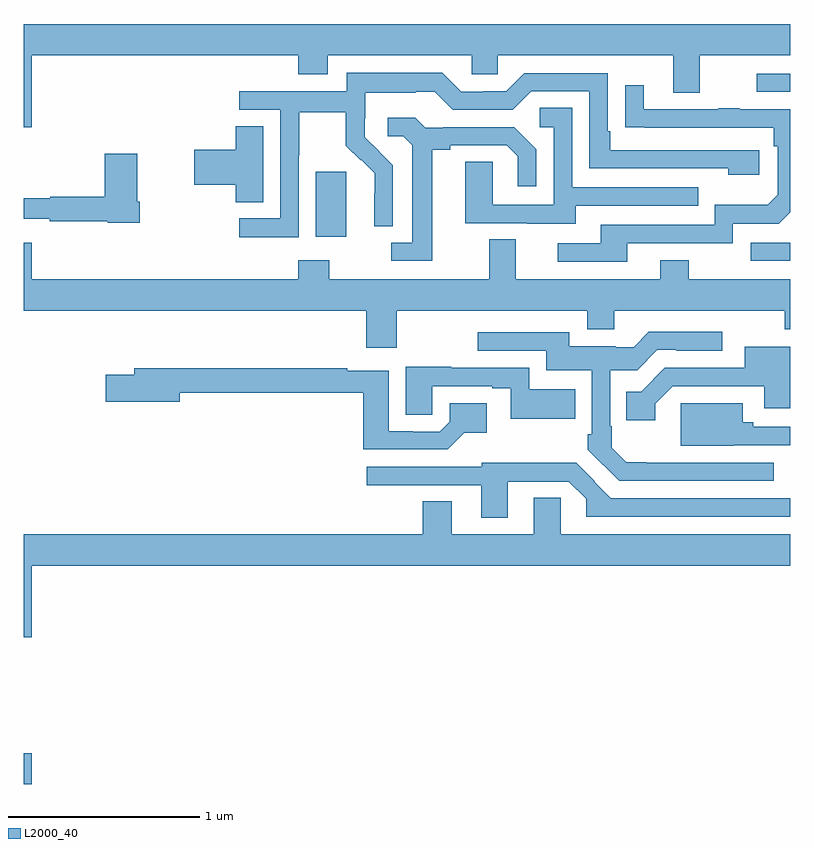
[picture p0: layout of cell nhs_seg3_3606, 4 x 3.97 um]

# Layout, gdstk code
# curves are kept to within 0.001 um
import gdstk
lib = gdstk.Library(unit=1e-6, precision=1e-09)
def R(c, l, rs):  # rectangles x0, y0, x1, y1
    for r in rs: c.add(gdstk.rectangle(r[:2], r[2:], *l))
def P(c, l, *ps):  # polygons
    for p in ps: c.add(gdstk.Polygon(p, *l))
L2000_40 = (2000, 40)

nhs_seg3_3606 = lib.new_cell('nhs_seg3_3606')
R(nhs_seg3_3606, L2000_40, [(297,742.4,297.04,742.561), (300.795,745.131,301,745.227), (298.523,745.257,298.684,745.597), (300.825,746.013,301,746.109)])
P(nhs_seg3_3606, L2000_40, [(297.04,746.204),(298.433,746.204),(298.433,746.105),(298.585,746.105),(298.585,746.204),(299.337,746.204),(299.337,746.106),(299.475,746.106),(299.475,746.204),(300.389,746.204),(300.389,746.01),(300.529,746.01),(300.529,746.204),(301,746.204),(301,746.368),(297,746.368),(297,745.83),(297.04,745.83)],
  [(298.434,745.684),(298.437,745.684),(298.437,745.908),(298.681,745.908),(298.681,745.733),(298.758,745.656),(298.761,745.659),(298.832,745.589),(298.832,745.484),(298.829,745.484),(298.829,745.312),(298.926,745.312),(298.926,745.63),(298.78,745.778),(298.78,745.875),(298.782,745.875),(298.782,746.009),(299.045,746.009),(299.045,746.013),(299.145,746.013),(299.238,745.92),(299.553,745.92),(299.649,746.016),(299.952,746.016),(299.952,745.614),(300.677,745.614),(300.677,745.58),(300.838,745.58),(300.838,745.71),(300.061,745.71),(300.061,745.807),(300.048,745.807),(300.048,746.112),(299.613,746.112),(299.517,746.016),(299.399,746.016),(299.399,746.013),(299.283,746.013),(299.183,746.113),(298.686,746.113),(298.686,746.016),(298.125,746.016),(298.125,745.92),(298.338,745.92),(298.338,745.353),(298.125,745.353),(298.125,745.255),(298.434,745.255)],
  [(300.151,745.224),(300.702,745.224),(300.702,745.326),(300.942,745.326),(301,745.384),(301,745.923),(300.737,745.923),(300.737,745.928),(300.625,745.928),(300.625,745.923),(300.235,745.923),(300.235,746.047),(300.139,746.047),(300.139,745.828),(300.916,745.827),(300.916,745.73),(300.936,745.73),(300.936,745.476),(300.883,745.423),(300.606,745.423),(300.606,745.32),(300.011,745.32),(300.011,745.224),(299.787,745.224),(299.787,745.128),(300.151,745.128)],
  [(299.881,745.419),(300.521,745.419),(300.521,745.515),(299.862,745.515),(299.862,745.931),(299.694,745.931),(299.694,745.83),(299.766,745.83),(299.766,745.425),(299.448,745.425),(299.448,745.649),(299.303,745.649),(299.303,745.329),(299.627,745.329),(299.627,745.325),(299.881,745.325)],
  [(299.131,745.712),(299.227,745.712),(299.227,745.734),(299.522,745.734),(299.579,745.677),(299.579,745.521),(299.676,745.521),(299.676,745.714),(299.56,745.83),(299.188,745.83),(299.188,745.827),(299.094,745.827),(299.042,745.879),(298.899,745.879),(298.899,745.782),(298.98,745.782),(299.027,745.735),(299.027,745.227),(298.917,745.227),(298.917,745.131),(299.131,745.131)],
  [(298.249,745.835),(298.106,745.835),(298.106,745.712),(297.888,745.712),(297.888,745.529),(298.106,745.529),(298.106,745.438),(298.249,745.438)],
  [(297.605,745.441),(297.592,745.441),(297.592,745.69),(297.422,745.69),(297.422,745.466),(297.138,745.466),(297.138,745.459),(297,745.459),(297,745.35),(297.136,745.35),(297.136,745.338),(297.438,745.338),(297.438,745.33),(297.605,745.33)],
  [(298.947,744.872),(299.942,744.872),(299.942,744.773),(300.082,744.773),(300.082,744.872),(300.973,744.872),(300.973,744.773),(301,744.773),(301,745.036),(300.471,745.036),(300.471,745.135),(300.323,745.135),(300.323,745.036),(299.569,745.036),(299.569,745.244),(299.429,745.244),(299.429,745.036),(298.593,745.036),(298.593,745.135),(298.433,745.135),(298.433,745.036),(297.04,745.036),(297.04,745.225),(297,745.225),(297,744.872),(298.787,744.872),(298.787,744.678),(298.947,744.678)],
  [(300.916,744.078),(300.25,744.078),(300.25,744.081),(300.146,744.081),(300.07,744.156),(300.07,744.268),(300.06,744.268),(300.06,744.561),(300.201,744.561),(300.306,744.666),(300.406,744.666),(300.406,744.663),(300.646,744.663),(300.646,744.76),(300.262,744.76),(300.183,744.681),(300.089,744.681),(300.089,744.685),(299.848,744.685),(299.848,744.759),(299.37,744.759),(299.37,744.663),(299.726,744.663),(299.726,744.56),(299.964,744.56),(299.964,744.226),(299.944,744.226),(299.944,744.145),(300.107,743.982),(300.916,743.982)],
  [(300.295,744.385),(300.387,744.477),(300.866,744.477),(300.866,744.362),(301,744.362),(301,744.682),(300.764,744.682),(300.764,744.573),(300.347,744.573),(300.222,744.448),(300.145,744.448),(300.145,744.3),(300.295,744.3)],
  [(299.879,744.46),(299.637,744.46),(299.637,744.573),(299.23,744.573),(299.23,744.578),(298.994,744.578),(298.994,744.328),(299.133,744.328),(299.133,744.477),(299.444,744.477),(299.444,744.465),(299.541,744.465),(299.541,744.308),(299.879,744.308)],
  [(299.298,744.233),(299.416,744.233),(299.416,744.388),(299.223,744.388),(299.223,744.291),(299.172,744.24),(299.03,744.24),(299.03,744.243),(298.906,744.243),(298.906,744.558),(298.688,744.558),(298.688,744.571),(297.575,744.571),(297.575,744.537),(297.426,744.537),(297.426,744.395),(297.814,744.395),(297.814,744.442),(298.772,744.442),(298.772,744.147),(299.212,744.147)],
  [(300.707,744.168),(301,744.168),(301,744.264),(300.807,744.264),(300.807,744.289),(300.754,744.289),(300.754,744.388),(300.428,744.388),(300.428,744.167),(300.707,744.167)],
  [(299.527,743.979),(299.844,743.979),(299.935,743.889),(299.935,743.796),(301,743.796),(301,743.892),(300.063,743.892),(299.978,743.977),(299.981,743.98),(299.883,744.078),(299.391,744.078),(299.391,744.057),(298.791,744.057),(298.791,743.961),(299.387,743.961),(299.387,743.79),(299.527,743.79)],
  [(297.04,743.54),(301,743.54),(301,743.704),(299.802,743.704),(299.802,743.894),(299.663,743.894),(299.663,743.704),(299.233,743.704),(299.233,743.876),(299.081,743.876),(299.081,743.704),(297,743.704),(297,743.166),(297.04,743.166)])

lib.write_gds('nhs_seg3_3606.gds')
